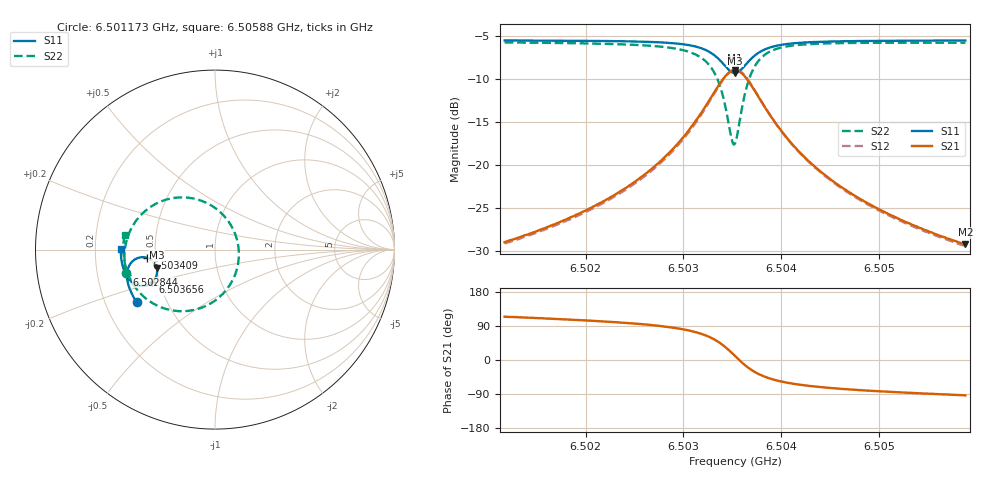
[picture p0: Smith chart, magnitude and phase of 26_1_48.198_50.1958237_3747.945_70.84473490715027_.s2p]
#  HZ  S  RI  R  50.00
! Rohde & Schwarz Vector Network Analyzer
! Rohde-Schwarz,ZNB20-2Port,1311601062101988,3.16
! Created: UTC 3/20/2024, 11:37:09 AM
! freq[Hz]  re:S11  im:S11  re:S21  im:S21  re:S12  im:S12  re:S22  im:S22
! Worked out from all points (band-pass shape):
!   401 points, 6.501173 GHz to 6.50588 GHz, reference 50 ohm
!   highest |S21| = -9.02 dB at 6.503527 GHz (marker M1); lowest = -29.2 dB at 6.50588 GHz (marker M2)
!   |S21| within 3 dB of the highest: 6.503291 GHz to 6.503762 GHz (470.9 kHz wide, 0.00724 % of centre)
!   lowest |S11| = -9.4 dB at 6.503527 GHz (marker M3), VSWR 2.03, Z = 25 - j5.65 ohm
!   |S11| at or under -10 dB: nowhere
!   |S22| runs from -17.6 to -5.8 dB; largest |S21 - S12| = 0.012
!   S11 on the Smith chart (normalised r, x): 6.501173 GHz: 0.34, -0.27; 6.502844 GHz: 0.33, -0.12; 6.503409 GHz: 0.45, -0.05; 6.503656 GHz: 0.46, -0.20; 6.50588 GHz: 0.31, +0.00
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6.5011734e9  -0.4363 -0.2946  -0.0147 0.0326  -0.0129 0.0326  -0.4953 -0.1326
6.5019618e9  -0.4687 -0.2343  -0.0136 0.0515  -0.0112 0.051  -0.5045 -0.0447
6.5024089e9  -0.4836 -0.1929  -0.0101 0.0729  -0.00697 0.0716  -0.4986 0.0232
6.5027501e9  -0.4905 -0.1528  -0.000246 0.1034  0.00347 0.1008  -0.476 0.0976
6.5028442e9  -0.4907 -0.1393  0.00571 0.1161  0.00954 0.1129  -0.4628 0.1245
6.5030442e9  -0.4848 -0.1047  0.0311 0.1529  0.0346 0.1481  -0.4105 0.1955
6.5031854e9  -0.4682 -0.074  0.0731 0.1881  0.0757 0.1819  -0.3291 0.2555
6.5033149e9  -0.4303 -0.047  0.1539 0.2142  0.1545 0.2078  -0.1819 0.2909
6.503409e9  -0.3815 -0.045  0.2495 0.1957  0.2495 0.1911  -0.0164 0.2435
6.5034914e9  -0.337 -0.0765  0.3302 0.1168  0.333 0.1124  0.1124 0.087
6.5035267e9  -0.3258 -0.0999  0.348 0.0655  0.352 0.06  0.1328 -0.00949
6.5035502e9  -0.3227 -0.117  0.3512 0.0293  0.3556 0.0223  0.1293 -0.0759
6.5035855e9  -0.3252 -0.1422  0.3428 -0.0229  0.3468 -0.0323  0.0991 -0.1688
6.5036561e9  -0.3488 -0.181  0.2934 -0.102  0.2932 -0.1141  -0.0179 -0.2962
6.5037502e9  -0.3912 -0.2015  0.2111 -0.1461  0.206 -0.1569  -0.185 -0.3433
6.5038208e9  -0.4183 -0.2014  0.1615 -0.1511  0.1546 -0.1594  -0.2775 -0.3294
6.5039032e9  -0.4423 -0.1942  0.1195 -0.1447  0.112 -0.1504  -0.3513 -0.2961
6.5040679e9  -0.4722 -0.1731  0.0699 -0.1223  0.063 -0.1251  -0.4319 -0.2261
6.504315e9  -0.4951 -0.1418  0.0358 -0.0944  0.0306 -0.095  -0.4809 -0.1459
6.504668e9  -0.5109 -0.1034  0.0159 -0.0693  0.0122 -0.0689  -0.5042 -0.0691
6.5051033e9  -0.5204 -0.062  0.00545 -0.0515  0.00309 -0.0508  -0.5107 -0.0032
6.5058799e9  -0.5259 0.00479  -0.00199 -0.0347  -0.00343 -0.0338  -0.5039 0.0829
